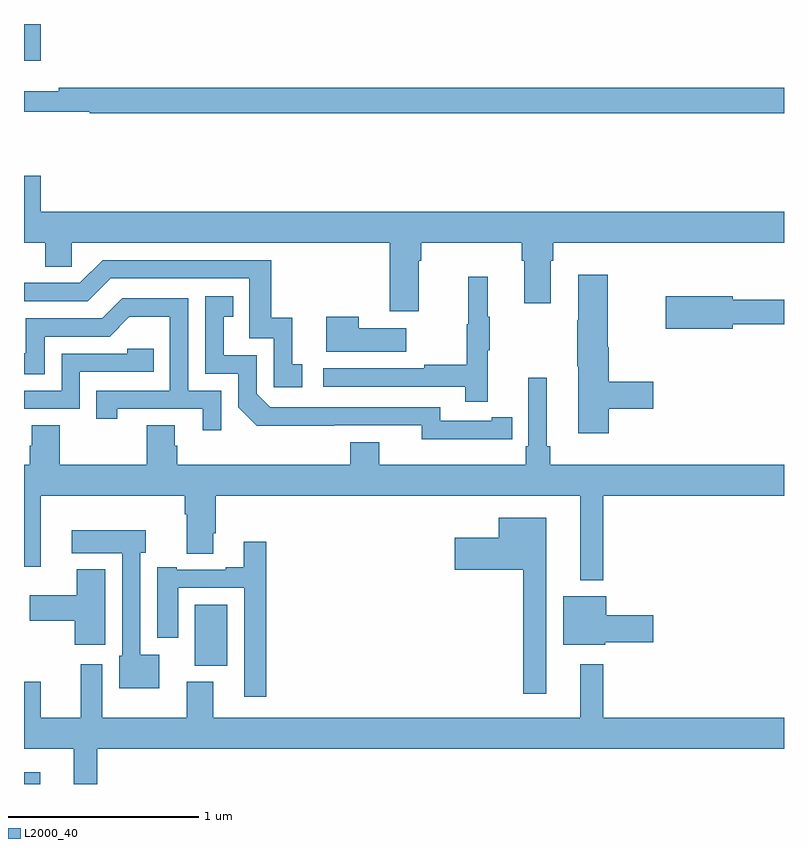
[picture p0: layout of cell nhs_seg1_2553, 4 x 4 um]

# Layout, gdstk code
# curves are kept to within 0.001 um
import gdstk
lib = gdstk.Library(unit=1e-6, precision=1e-09)
def R(c, l, rs):  # rectangles x0, y0, x1, y1
    for r in rs: c.add(gdstk.rectangle(r[:2], r[2:], *l))
def P(c, l, *ps):  # polygons
    for p in ps: c.add(gdstk.Polygon(p, *l))
L2000_40 = (2000, 40)

nhs_seg1_2553 = lib.new_cell('nhs_seg1_2553')
R(nhs_seg1_2553, L2000_40, [(249,566.199,249.085,566.26), (249.899,566.822,250.069,567.142), (249,570.006,249.088,570.199)])
P(nhs_seg1_2553, L2000_40, [(253,569.864),(249.184,569.864),(249.184,569.845),(249,569.845),(249,569.736),(249.345,569.736),(249.345,569.728),(253,569.728)],
  [(249.088,569.401),(249,569.401),(249,569.048),(249.113,569.048),(249.113,568.921),(249.252,568.921),(249.252,569.048),(250.925,569.048),(250.925,568.686),(251.077,568.686),(251.077,568.952),(251.09,568.952),(251.09,569.048),(251.621,569.048),(251.621,568.952),(251.633,568.952),(251.633,568.728),(251.773,568.728),(251.773,568.952),(251.786,568.952),(251.786,569.048),(253,569.048),(253,569.212),(249.088,569.212)],
  [(250.465,568.407),(250.412,568.407),(250.412,568.654),(250.301,568.654),(250.301,568.956),(249.414,568.956),(249.294,568.836),(249,568.836),(249,568.74),(249.336,568.74),(249.456,568.86),(250.185,568.86),(250.185,568.545),(250.314,568.545),(250.314,568.287),(250.465,568.287)],
  [(252.077,568.174),(252.313,568.174),(252.313,568.316),(252.077,568.316),(252.077,568.499),(252.072,568.499),(252.072,568.879),(251.918,568.879),(251.918,568.64),(251.911,568.64),(251.911,568.399),(251.918,568.399),(251.918,568.044),(252.077,568.044)],
  [(251.441,568.483),(251.452,568.483),(251.452,568.657),(251.441,568.657),(251.441,568.87),(251.338,568.87),(251.338,568.62),(251.331,568.62),(251.331,568.406),(251.107,568.406),(251.107,568.386),(250.575,568.386),(250.575,568.29),(251.323,568.29),(251.323,568.212),(251.441,568.212)],
  [(252.73,568.618),(253,568.618),(253,568.747),(252.73,568.747),(252.73,568.765),(252.378,568.765),(252.378,568.595),(252.73,568.595)],
  [(251.462,568.014),(251.57,568.014),(251.57,568.13),(251.462,568.13),(251.462,568.11),(251.19,568.11),(251.19,568.182),(250.296,568.182),(250.224,568.254),(250.224,568.455),(250.051,568.455),(250.051,568.659),(250.1,568.659),(250.1,568.765),(249.954,568.765),(249.954,568.359),(250.128,568.359),(250.128,568.182),(250.226,568.085),(251.094,568.086),(251.094,568.013)],
  [(250.038,568.269),(249.864,568.269),(249.864,568.755),(249.518,568.755),(249.413,568.65),(249.01,568.65),(249.01,568.465),(249,568.465),(249,568.356),(249.108,568.356),(249.108,568.554),(249.45,568.554),(249.554,568.658),(249.768,568.658),(249.768,568.269),(249.379,568.269),(249.379,568.122),(249.49,568.122),(249.49,568.173),(249.941,568.173),(249.941,568.062),(250.038,568.062)],
  [(251.011,568.597),(250.763,568.597),(250.763,568.657),(250.592,568.657),(250.592,568.475),(251.011,568.475)],
  [(249.294,568.368),(249.683,568.368),(249.683,568.491),(249.543,568.491),(249.543,568.464),(249.198,568.464),(249.198,568.269),(249,568.269),(249,568.173),(249.294,568.173)],
  [(251.752,567.976),(251.752,568.336),(251.655,568.336),(251.655,567.976),(251.642,567.976),(251.642,567.88),(250.87,567.88),(250.87,567.997),(250.718,567.997),(250.718,567.88),(249.806,567.88),(249.806,567.978),(249.793,567.978),(249.793,568.088),(249.646,568.088),(249.646,567.88),(249.189,567.88),(249.189,568.088),(249.041,568.088),(249.041,567.978),(249.029,567.978),(249.029,567.88),(249,567.88),(249,567.342),(249.088,567.342),(249.088,567.716),(249.845,567.716),(249.845,567.62),(249.857,567.62),(249.857,567.412),(249.997,567.412),(249.997,567.52),(250.01,567.52),(250.01,567.716),(251.927,567.716),(251.927,567.272),(252.049,567.272),(252.049,567.716),(253,567.716),(253,567.88),(251.771,567.88),(251.771,567.976)],
  [(251.749,567.601),(251.498,567.601),(251.498,567.496),(251.268,567.496),(251.268,567.326),(251.628,567.326),(251.628,566.673),(251.749,566.673)],
  [(249.712,566.878),(249.612,566.878),(249.612,567.417),(249.64,567.417),(249.64,567.535),(249.252,567.535),(249.252,567.413),(249.516,567.413),(249.516,566.874),(249.5,566.874),(249.5,566.702),(249.712,566.702)],
  [(250.274,567.475),(250.157,567.475),(250.157,567.34),(250.061,567.34),(250.061,567.327),(249.805,567.327),(249.805,567.34),(249.701,567.34),(249.701,566.97),(249.811,566.97),(249.811,567.231),(250.158,567.231),(250.158,566.658),(250.274,566.658)],
  [(249.427,567.328),(249.278,567.328),(249.278,567.193),(249.03,567.193),(249.03,567.059),(249.266,567.059),(249.266,566.931),(249.427,566.931)],
  [(252.06,566.944),(252.313,566.944),(252.313,567.086),(252.064,567.086),(252.064,567.187),(251.837,567.187),(251.837,566.933),(252.06,566.933)],
  [(249.385,566.384),(253,566.384),(253,566.548),(252.049,566.548),(252.049,566.83),(251.927,566.83),(251.927,566.548),(249.997,566.548),(249.997,566.737),(249.857,566.737),(249.857,566.548),(249.412,566.548),(249.412,566.83),(249.299,566.83),(249.299,566.548),(249.088,566.548),(249.088,566.737),(249,566.737),(249,566.384),(249.263,566.384),(249.263,566.199),(249.385,566.199)])

lib.write_gds('nhs_seg1_2553.gds')
